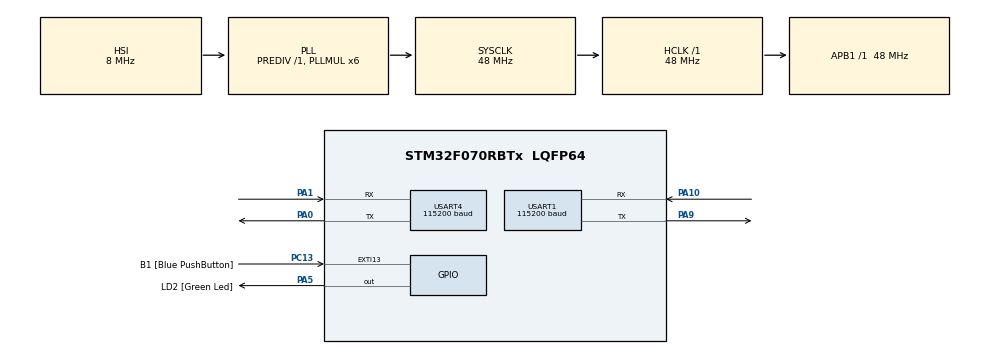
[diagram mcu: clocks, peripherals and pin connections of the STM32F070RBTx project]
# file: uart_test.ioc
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Dma.Request0=USART1_RX
Dma.Request1=USART1_TX
Dma.USART1_RX.0.Direction=DMA_PERIPH_TO_MEMORY
Dma.USART1_RX.0.Instance=DMA1_Channel3
Dma.USART1_RX.0.MemDataAlignment=DMA_MDATAALIGN_BYTE
Dma.USART1_RX.0.MemInc=DMA_MINC_ENABLE
Dma.USART1_RX.0.Mode=DMA_NORMAL
Dma.USART1_RX.0.PeriphDataAlignment=DMA_PDATAALIGN_BYTE
Dma.USART1_RX.0.PeriphInc=DMA_PINC_DISABLE
Dma.USART1_RX.0.Priority=DMA_PRIORITY_LOW
Dma.USART1_TX.1.Direction=DMA_MEMORY_TO_PERIPH
Dma.USART1_TX.1.Instance=DMA1_Channel2
Dma.USART1_TX.1.MemDataAlignment=DMA_MDATAALIGN_BYTE
Dma.USART1_TX.1.MemInc=DMA_MINC_ENABLE
Dma.USART1_TX.1.Mode=DMA_NORMAL
Dma.USART1_TX.1.PeriphDataAlignment=DMA_PDATAALIGN_BYTE
Dma.USART1_TX.1.PeriphInc=DMA_PINC_DISABLE
Dma.USART1_TX.1.Priority=DMA_PRIORITY_LOW
FREERTOS.Tasks01=uart1Task,0,128,startUart1Task,Default,NULL,Dynamic,NULL,NULL;uart4Task,0,128,startUart4Task,Default,NULL,Dynamic,NULL,NULL
Mcu.Family=STM32F0
Mcu.Name=STM32F070RBTx
Mcu.Package=LQFP64
NVIC.DMA1_Channel2_3_IRQn=true\:3\:0\:false\:false\:true\:true\:false
NVIC.TIM6_IRQn=true\:0\:0\:false\:false\:true\:false\:false
NVIC.TimeBase=TIM6_IRQn
NVIC.TimeBaseIP=TIM6
NVIC.USART1_IRQn=true\:3\:0\:false\:false\:true\:true\:true
PA0.Mode=Asynchronous
PA0.Signal=USART4_TX
PA1.Mode=Asynchronous
PA1.Signal=USART4_RX
PA10.Mode=Asynchronous
PA10.Signal=USART1_RX
PA13.GPIO_Label=TMS
PA13.Signal=SYS_SWDIO
PA5.GPIO_Label=LD2 [Green Led]
PA5.Signal=GPIO_Output
PA9.Mode=Asynchronous
PA9.Signal=USART1_TX
PC13.GPIO_Label=B1 [Blue PushButton]
PC13.GPIO_ModeDefaultEXTI=GPIO_MODE_IT_FALLING
PC13.Signal=GPXTI13
PC14-OSC32_IN.GPIO_Label=RCC_OSC32_IN
PC14-OSC32_IN.Signal=RCC_OSC32_IN
PC15-OSC32_OUT.GPIO_Label=RCC_OSC32_OUT
PC15-OSC32_OUT.Signal=RCC_OSC32_OUT
PF0-OSC_IN.GPIO_Label=RCC_OSC_IN
PF0-OSC_IN.Signal=RCC_OSC_IN
PF1-OSC_OUT.GPIO_Label=RCC_OSC_OUT
PF1-OSC_OUT.Signal=RCC_OSC_OUT
ProjectManager.HeapSize=0x200
ProjectManager.StackSize=0x400
ProjectManager.TargetToolchain=MDK-ARM V5
RCC.AHBFreq_Value=48000000
RCC.APB1Freq_Value=48000000
RCC.APB1TimFreq_Value=48000000
RCC.HCLKFreq_Value=48000000
RCC.PLLMUL=RCC_PLL_MUL6
RCC.SYSCLKFreq_VALUE=48000000
RCC.SYSCLKSource=RCC_SYSCLKSOURCE_PLLCLK
USART1.BaudRate=115200
USART1.VirtualMode-Asynchronous=VM_ASYNC
USART1.WordLength=WORDLENGTH_8B
USART4.BaudRate=115200
USART4.VirtualMode-Asynchronous=VM_ASYNC
USART4.WordLength=WORDLENGTH_8B
VP_FREERTOS_VS_ENABLE.Mode=Enabled
VP_SYS_VS_tim6.Mode=TIM6
board=NUCLEO-F070RB

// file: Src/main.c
/**
  ******************************************************************************
  * File Name          : main.c
  * Description        : Main program body
  ******************************************************************************
  * This notice applies to any and all portions of this file
  * that are not between comment pairs USER CODE BEGIN and
  * USER CODE END. Other portions of this file, whether
  * inserted by the user or by software development tools
  * are owned by their respective copyright owners.
  *
  * Copyright (c) 2017 STMicroelectronics International N.V.
  * All rights reserved.
  *
  * Redistribution and use in source and binary forms, with or without
  * modification, are permitted, provided that the following conditions are met:
  *
  * 1. Redistribution of source code must retain the above copyright notice,
  *    this list of conditions and the following disclaimer.
  * 2. Redistributions in binary form must reproduce the above copyright notice,
  *    this list of conditions and the following disclaimer in the documentation
  *    and/or other materials provided with the distribution.
  * 3. Neither the name of STMicroelectronics nor the names of other
  *    contributors to this software may be used to endorse or promote products
  *    derived from this software without specific written permission.
  * 4. This software, including modifications and/or derivative works of this
  *    software, must execute solely and exclusively on microcontroller or
  *    microprocessor devices manufactured by or for STMicroelectronics.
  * 5. Redistribution and use of this software other than as permitted under
  *    this license is void and will automatically terminate your rights under
  *    this license.
  *
  * THIS SOFTWARE IS PROVIDED BY STMICROELECTRONICS AND CONTRIBUTORS "AS IS"
  * AND ANY EXPRESS, IMPLIED OR STATUTORY WARRANTIES, INCLUDING, BUT NOT
  * LIMITED TO, THE IMPLIED WARRANTIES OF MERCHANTABILITY, FITNESS FOR A
  * PARTICULAR PURPOSE AND NON-INFRINGEMENT OF THIRD PARTY INTELLECTUAL PROPERTY
  * RIGHTS ARE DISCLAIMED TO THE FULLEST EXTENT PERMITTED BY LAW. IN NO EVENT
  * SHALL STMICROELECTRONICS OR CONTRIBUTORS BE LIABLE FOR ANY DIRECT, INDIRECT,
  * INCIDENTAL, SPECIAL, EXEMPLARY, OR CONSEQUENTIAL DAMAGES (INCLUDING, BUT NOT
  * LIMITED TO, PROCUREMENT OF SUBSTITUTE GOODS OR SERVICES; LOSS OF USE, DATA,
  * OR PROFITS; OR BUSINESS INTERRUPTION) HOWEVER CAUSED AND ON ANY THEORY OF
  * LIABILITY, WHETHER IN CONTRACT, STRICT LIABILITY, OR TORT (INCLUDING
  * NEGLIGENCE OR OTHERWISE) ARISING IN ANY WAY OUT OF THE USE OF THIS SOFTWARE,
  * EVEN IF ADVISED OF THE POSSIBILITY OF SUCH DAMAGE.
  *
  ******************************************************************************
  */

#include "main.h"
#include "stm32f0xx_hal.h"
#include "cmsis_os.h"

/* USER CODE BEGIN Includes */
#include <string.h>
/* USER CODE END Includes */

UART_HandleTypeDef huart1;
UART_HandleTypeDef huart4;
DMA_HandleTypeDef hdma_usart1_rx;
DMA_HandleTypeDef hdma_usart1_tx;

osThreadId uart1TaskHandle;
osThreadId uart4TaskHandle;

/* USER CODE BEGIN PV */
/* Private variables ---------------------------------------------------------*/

/* USER CODE END PV */

void SystemClock_Config(void);
static void MX_GPIO_Init(void);
static void MX_DMA_Init(void);
static void MX_USART4_UART_Init(void);
static void MX_USART1_UART_Init(void);
void startUart1Task(void const * argument);
void startUart4Task(void const * argument);

/* USER CODE BEGIN PFP */
/* Private function prototypes -----------------------------------------------*/

/* USER CODE END PFP */

int main(void)
{

  /* MCU Configuration----------------------------------------------------------*/

  /* Reset of all peripherals, Initializes the Flash interface and the Systick. */
  HAL_Init();

  /* Configure the system clock */
  SystemClock_Config();

  /* Initialize all configured peripherals */
  MX_GPIO_Init();
  MX_DMA_Init();
  MX_USART4_UART_Init();
  MX_USART1_UART_Init();

  /* Create the thread(s) */
  /* definition and creation of uart1Task */
  osThreadDef(uart1Task, startUart1Task, osPriorityNormal, 0, 128);
  uart1TaskHandle = osThreadCreate(osThread(uart1Task), NULL);

  /* definition and creation of uart4Task */
  osThreadDef(uart4Task, startUart4Task, osPriorityNormal, 0, 128);
  uart4TaskHandle = osThreadCreate(osThread(uart4Task), NULL);

  /* Start scheduler */
  osKernelStart();

  /* We should never get here as control is now taken by the scheduler */

  /* Infinite loop */
  while (1)
  {

  }

}

/** System Clock Configuration
*/
void SystemClock_Config(void)
{

  RCC_OscInitTypeDef RCC_OscInitStruct;
  RCC_ClkInitTypeDef RCC_ClkInitStruct;
  RCC_PeriphCLKInitTypeDef PeriphClkInit;

    /**Initializes the CPU, AHB and APB busses clocks
    */
  RCC_OscInitStruct.OscillatorType = RCC_OSCILLATORTYPE_HSI;
  RCC_OscInitStruct.HSIState = RCC_HSI_ON;
  RCC_OscInitStruct.HSICalibrationValue = 16;
  RCC_OscInitStruct.PLL.PLLState = RCC_PLL_ON;
  RCC_OscInitStruct.PLL.PLLSource = RCC_PLLSOURCE_HSI;
  RCC_OscInitStruct.PLL.PLLMUL = RCC_PLL_MUL6;
  RCC_OscInitStruct.PLL.PREDIV = RCC_PREDIV_DIV1;
  if (HAL_RCC_OscConfig(&RCC_OscInitStruct) != HAL_OK)
  {
    _Error_Handler(__FILE__, __LINE__);
  }

    /**Initializes the CPU, AHB and APB busses clocks
    */
  RCC_ClkInitStruct.ClockType = RCC_CLOCKTYPE_HCLK|RCC_CLOCKTYPE_SYSCLK
                              |RCC_CLOCKTYPE_PCLK1;
  RCC_ClkInitStruct.SYSCLKSource = RCC_SYSCLKSOURCE_PLLCLK;
  RCC_ClkInitStruct.AHBCLKDivider = RCC_SYSCLK_DIV1;
  RCC_ClkInitStruct.APB1CLKDivider = RCC_HCLK_DIV1;

  if (HAL_RCC_ClockConfig(&RCC_ClkInitStruct, FLASH_LATENCY_1) != HAL_OK)
  {
    _Error_Handler(__FILE__, __LINE__);
  }

  PeriphClkInit.PeriphClockSelection = RCC_PERIPHCLK_USART1;
  PeriphClkInit.Usart1ClockSelection = RCC_USART1CLKSOURCE_PCLK1;
  if (HAL_RCCEx_PeriphCLKConfig(&PeriphClkInit) != HAL_OK)
  {
    _Error_Handler(__FILE__, __LINE__);
  }

    /**Configure the Systick interrupt time
    */
  HAL_SYSTICK_Config(HAL_RCC_GetHCLKFreq()/1000);

    /**Configure the Systick
    */
  HAL_SYSTICK_CLKSourceConfig(SYSTICK_CLKSOURCE_HCLK);

  /* SysTick_IRQn interrupt configuration */
  HAL_NVIC_SetPriority(SysTick_IRQn, 3, 0);
}

/* USART1 init function */
static void MX_USART1_UART_Init(void)
{

  huart1.Instance = USART1;
  huart1.Init.BaudRate = 115200;
  huart1.Init.WordLength = UART_WORDLENGTH_8B;
  huart1.Init.StopBits = UART_STOPBITS_1;
  huart1.Init.Parity = UART_PARITY_NONE;
  huart1.Init.Mode = UART_MODE_TX_RX;
  huart1.Init.HwFlowCtl = UART_HWCONTROL_NONE;
  huart1.Init.OverSampling = UART_OVERSAMPLING_16;
  huart1.Init.OneBitSampling = UART_ONE_BIT_SAMPLE_DISABLE;
  huart1.AdvancedInit.AdvFeatureInit = UART_ADVFEATURE_NO_INIT;
  if (HAL_UART_Init(&huart1) != HAL_OK)
  {
    _Error_Handler(__FILE__, __LINE__);
  }

}

/* USART4 init function */
static void MX_USART4_UART_Init(void)
{

  huart4.Instance = USART4;
  huart4.Init.BaudRate = 115200;
  huart4.Init.WordLength = UART_WORDLENGTH_8B;
  huart4.Init.StopBits = UART_STOPBITS_1;
  huart4.Init.Parity = UART_PARITY_NONE;
  huart4.Init.Mode = UART_MODE_TX_RX;
  huart4.Init.HwFlowCtl = UART_HWCONTROL_NONE;
  huart4.Init.OverSampling = UART_OVERSAMPLING_16;
  huart4.Init.OneBitSampling = UART_ONE_BIT_SAMPLE_DISABLE;
  huart4.AdvancedInit.AdvFeatureInit = UART_ADVFEATURE_NO_INIT;
  if (HAL_UART_Init(&huart4) != HAL_OK)
  {
    _Error_Handler(__FILE__, __LINE__);
  }

}

static void MX_DMA_Init(void)
{
  /* DMA controller clock enable */
  __HAL_RCC_DMA1_CLK_ENABLE();

  /* DMA interrupt init */
  /* DMA1_Channel2_3_IRQn interrupt configuration */
  HAL_NVIC_SetPriority(DMA1_Channel2_3_IRQn, 3, 0);
  HAL_NVIC_EnableIRQ(DMA1_Channel2_3_IRQn);

}

/** Configure pins as
        * Analog
        * Input
        * Output
        * EVENT_OUT
        * EXTI
*/
static void MX_GPIO_Init(void)
{

  GPIO_InitTypeDef GPIO_InitStruct;

  /* GPIO Ports Clock Enable */
  __HAL_RCC_GPIOC_CLK_ENABLE();
  __HAL_RCC_GPIOF_CLK_ENABLE();
  __HAL_RCC_GPIOA_CLK_ENABLE();

  /*Configure GPIO pin Output Level */
  HAL_GPIO_WritePin(LD2_GPIO_Port, LD2_Pin, GPIO_PIN_RESET);

  /*Configure GPIO pin : B1_Pin */
  GPIO_InitStruct.Pin = B1_Pin;
  GPIO_InitStruct.Mode = GPIO_MODE_IT_FALLING;
  GPIO_InitStruct.Pull = GPIO_NOPULL;
  HAL_GPIO_Init(B1_GPIO_Port, &GPIO_InitStruct);

  /*Configure GPIO pin : LD2_Pin */
  GPIO_InitStruct.Pin = LD2_Pin;
  GPIO_InitStruct.Mode = GPIO_MODE_OUTPUT_PP;
  GPIO_InitStruct.Pull = GPIO_NOPULL;
  GPIO_InitStruct.Speed = GPIO_SPEED_FREQ_LOW;
  HAL_GPIO_Init(LD2_GPIO_Port, &GPIO_InitStruct);

}

/* USER CODE BEGIN 4 */
void huart1_rx_callback(void *param){

}
void huart1_tx_callback(void *param){

}
/* USER CODE END 4 */

/* startUart1Task function */
void startUart1Task(void const * argument)
{

  /* USER CODE BEGIN 5 */
	struct {
		struct uart_pipes pipes;
		UART_HandleTypeDef *huart;
	}core;
	void *_p;
	int ret;
	char str[64];
	const char *p2;
	core.huart = &huart1;
	core.pipes.rx.dma_mem.size = 32;
	core.pipes.rx.dma_mem.buff = _p = pvPortMalloc( 32 );
	core.pipes.rx.callback = huart1_rx_callback;
	_p = pvPortMalloc( 128 );
	kfifo_init( &core.pipes.rx.fifo, _p, 128 );

	core.pipes.tx.dma_mem.size = 32;
	core.pipes.tx.dma_mem.buff = _p = pvPortMalloc( 32 );
	core.pipes.tx.callback = huart1_tx_callback;
	_p = pvPortMalloc( 128 );
	kfifo_init( &core.pipes.tx.fifo, _p, 128 );

  /* Infinite loop */

  for(;;)
  {
		ret = kfifo_out( &core.pipes.rx.fifo, str, sizeof(str)-1 );
		if(ret>0){
			p2 = "Received data:";
			kfifo_in( &core.pipes.tx.fifo, p2, strlen(p2) );
			kfifo_in( &core.pipes.tx.fifo, str, ret );
			p2 = "\r\n";
			kfifo_in( &core.pipes.tx.fifo, p2, strlen(p2) );
			HAL_UART_Receive_DMA()
		}else{
			//no data in the fifo, I can have some sleep.
			taskYIELD();
		}

  }
  /* USER CODE END 5 */
}

/* startUart4Task function */
void startUart4Task(void const * argument)
{
  /* USER CODE BEGIN startUart4Task */
	char buff;
	UART_HandleTypeDef *huart = &huart4;
  /* Infinite loop */
  for(;;)
  {
		if( HAL_OK==HAL_UART_Receive( huart, (void*)&buff, 1, 3000 ) ){
			HAL_UART_Transmit( huart, (void*)&buff, 1, 100 );
		}
  }
  /* USER CODE END startUart4Task */
}

void HAL_TIM_PeriodElapsedCallback(TIM_HandleTypeDef *htim)
{
  if (htim->Instance == TIM6) {
    HAL_IncTick();
  }
}

void _Error_Handler(char * file, int line)
{
  while(1)
  {
  }
}

/************************ (C) COPYRIGHT STMicroelectronics *****END OF FILE****/
